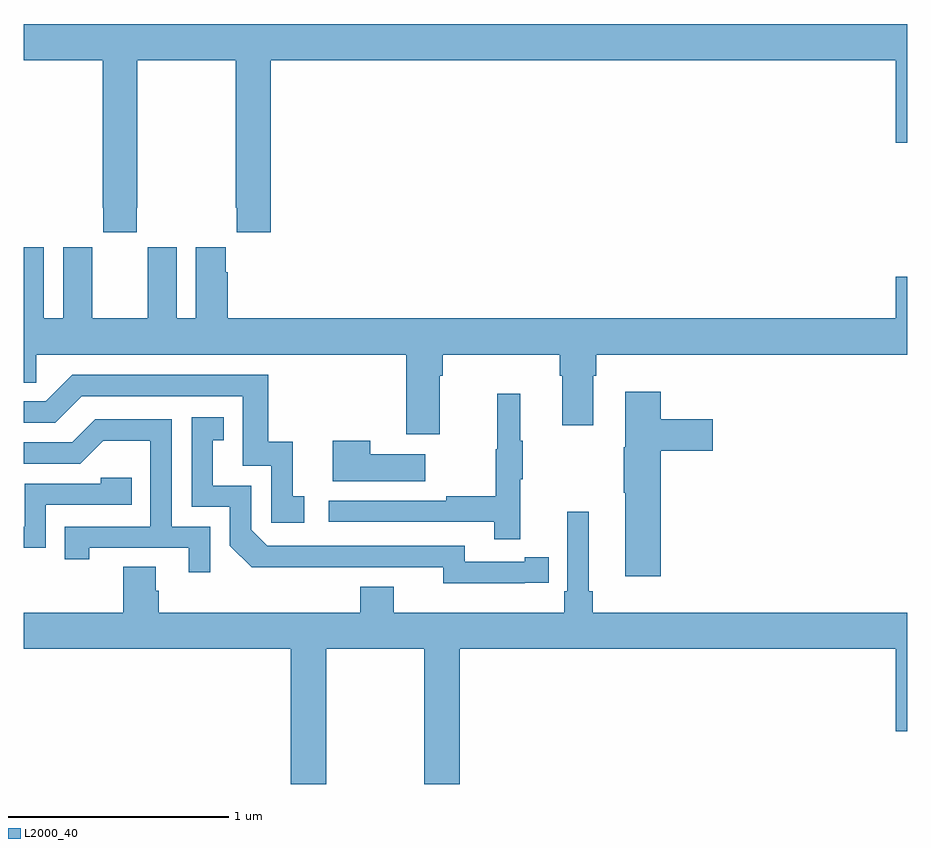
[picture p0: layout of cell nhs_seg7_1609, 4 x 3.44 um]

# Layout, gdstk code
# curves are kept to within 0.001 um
import gdstk
lib = gdstk.Library(unit=1e-6, precision=1e-09)
def P(c, l, *ps):  # polygons
    for p in ps: c.add(gdstk.Polygon(p, *l))
L2000_40 = (2000, 40)

nhs_seg7_1609 = lib.new_cell('nhs_seg7_1609')
P(nhs_seg7_1609, L2000_40, [(221.511,1006.609),(221.514,1006.609),(221.514,1007.276),(221.959,1007.276),(221.959,1006.609),(221.965,1006.609),(221.965,1006.497),(222.119,1006.497),(222.119,1007.276),(224.948,1007.276),(224.948,1006.902),(225,1006.902),(225,1007.44),(221,1007.44),(221,1007.276),(221.359,1007.276),(221.359,1006.609),(221.361,1006.609),(221.361,1006.497),(221.511,1006.497)],
  [(222.883,1005.848),(222.896,1005.848),(222.896,1005.944),(223.427,1005.944),(223.427,1005.848),(223.439,1005.848),(223.439,1005.624),(223.579,1005.624),(223.579,1005.848),(223.592,1005.848),(223.592,1005.944),(225,1005.944),(225,1006.297),(224.948,1006.297),(224.948,1006.108),(221.924,1006.108),(221.924,1006.316),(221.914,1006.316),(221.914,1006.429),(221.78,1006.429),(221.78,1006.108),(221.692,1006.108),(221.692,1006.429),(221.562,1006.429),(221.562,1006.316),(221.561,1006.316),(221.561,1006.108),(221.311,1006.108),(221.311,1006.316),(221.31,1006.316),(221.31,1006.429),(221.18,1006.429),(221.18,1006.108),(221.092,1006.108),(221.092,1006.429),(221,1006.429),(221,1005.817),(221.058,1005.817),(221.058,1005.944),(222.731,1005.944),(222.731,1005.582),(222.883,1005.582)],
  [(222.271,1005.303),(222.218,1005.303),(222.218,1005.55),(222.107,1005.55),(222.107,1005.852),(221.22,1005.852),(221.1,1005.732),(221,1005.732),(221,1005.636),(221.142,1005.636),(221.262,1005.756),(221.991,1005.756),(221.991,1005.441),(222.12,1005.441),(222.12,1005.183),(222.271,1005.183)],
  [(223.883,1005.509),(224.119,1005.509),(224.119,1005.651),(223.883,1005.651),(223.883,1005.775),(223.724,1005.775),(223.724,1005.525),(223.717,1005.525),(223.717,1005.319),(223.724,1005.319),(223.724,1004.94),(223.883,1004.94)],
  [(223.247,1005.379),(223.258,1005.379),(223.258,1005.553),(223.247,1005.553),(223.247,1005.766),(223.144,1005.766),(223.144,1005.516),(223.137,1005.516),(223.137,1005.302),(222.913,1005.302),(222.913,1005.282),(222.381,1005.282),(222.381,1005.186),(223.129,1005.186),(223.129,1005.108),(223.247,1005.108)],
  [(223.268,1004.91),(223.376,1004.91),(223.376,1005.026),(223.268,1005.026),(223.268,1005.006),(222.996,1005.006),(222.996,1005.078),(222.102,1005.078),(222.03,1005.15),(222.03,1005.351),(221.857,1005.351),(221.857,1005.555),(221.906,1005.555),(221.906,1005.661),(221.76,1005.661),(221.76,1005.255),(221.934,1005.255),(221.934,1005.078),(222.032,1004.981),(222.9,1004.982),(222.9,1004.909)],
  [(221.844,1005.165),(221.67,1005.165),(221.67,1005.651),(221.324,1005.651),(221.219,1005.546),(221,1005.546),(221,1005.45),(221.256,1005.45),(221.36,1005.554),(221.574,1005.554),(221.574,1005.165),(221.185,1005.165),(221.185,1005.018),(221.296,1005.018),(221.296,1005.069),(221.747,1005.069),(221.747,1004.958),(221.844,1004.958)],
  [(222.817,1005.493),(222.569,1005.493),(222.569,1005.553),(222.398,1005.553),(222.398,1005.371),(222.817,1005.371)],
  [(221.1,1005.264),(221.489,1005.264),(221.489,1005.387),(221.349,1005.387),(221.349,1005.36),(221.004,1005.36),(221.004,1005.165),(221,1005.165),(221,1005.069),(221.1,1005.069)],
  [(222.369,1004.612),(222.814,1004.612),(222.814,1004),(222.974,1004),(222.974,1004.612),(224.948,1004.612),(224.948,1004.238),(225,1004.238),(225,1004.776),(223.577,1004.776),(223.577,1004.872),(223.558,1004.872),(223.558,1005.232),(223.461,1005.232),(223.461,1004.872),(223.448,1004.872),(223.448,1004.776),(222.676,1004.776),(222.676,1004.893),(222.524,1004.893),(222.524,1004.776),(221.612,1004.776),(221.612,1004.874),(221.599,1004.874),(221.599,1004.984),(221.452,1004.984),(221.452,1004.776),(221,1004.776),(221,1004.612),(222.209,1004.612),(222.209,1004),(222.369,1004)])

lib.write_gds('nhs_seg7_1609.gds')
